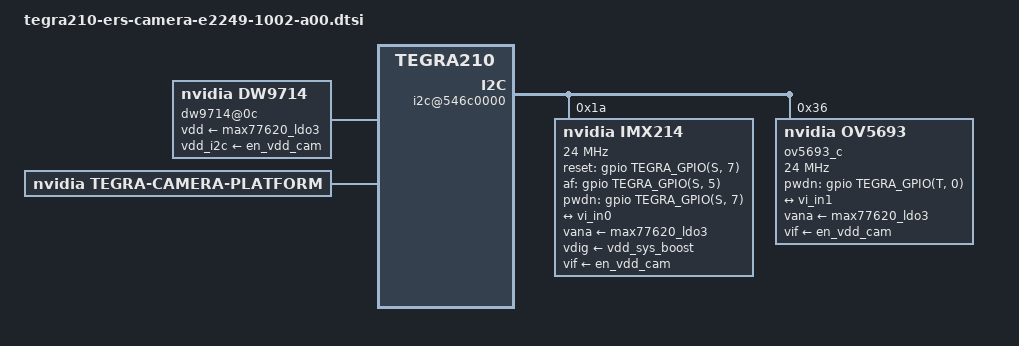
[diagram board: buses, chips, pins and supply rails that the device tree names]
/*
 * Copyright (c) 2014-2016, NVIDIA CORPORATION.  All rights reserved.
 *
 * This program is free software; you can redistribute it and/or modify
 * it under the terms of the GNU General Public License as published by
 * the Free Software Foundation; either version 2 of the License, or
 * (at your option) any later version.
 *
 * This program is distributed in the hope that it will be useful, but WITHOUT
 * ANY WARRANTY; without even the implied warranty of MERCHANTABILITY or
 * FITNESS FOR A PARTICULAR PURPOSE.  See the GNU General Public License for
 * more details.
 *
 * You should have received a copy of the GNU General Public License
 * along with this program.  If not, see <http://www.gnu.org/licenses/>.
 */

#include <dt-bindings/media/camera.h>
#include <dt-bindings/platform/t210/t210.h>

#define VI_I2C_BUS	6

/ {
	host1x {
		vi {
			num-channels = <2>;
			ports {
				#address-cells = <1>;
				#size-cells = <0>;
				port@0 {
					reg = <0>;
					vi_in0: endpoint {
						remote-endpoint = <&imx214_out0>;
					};
				};
				port@1 {
					reg = <1>;
					vi_in1: endpoint {
						remote-endpoint = <&ov5693_out0>;
					};
				};
			};
		};

		i2c@546c0000 {
			avdd_dsi_csi-supply = <&max77620_gpio7>;

			status = "okay";
			#address-cells = <1>;
			#size-cells = <0>;
			imx214@1a {
				compatible = "nvidia,imx214";
				reg = <0x1a>;

				clocks = <&tegra_car TEGRA210_CLK_ID_CLK_OUT_3>;
				clock-names = "mclk";
				clock-frequency = <24000000>;

				/* Physical dimensions of sensor */
				physical_w = "4.713";
				physical_h = "3.494";

				/* V4L2 device node location */
				devnode = "video0";

				/* Sensor Model */
				sensor_model ="imx214";

				/**
				* Define any required hw resources needed by
				* driver
				*/
				/* ie. clocks, io pins, power sources */
				mclk = "cam_mclk1";
				reset-gpios = <&gpio TEGRA_GPIO(S, 7) 0>;
				af-gpios = <&gpio TEGRA_GPIO(S, 5) 0>;
				pwdn-gpios = <&gpio TEGRA_GPIO(S, 7) 0>;
				vana-supply = <&max77620_ldo3>;
				vdig-supply = <&vdd_sys_boost>;
				vif-supply = <&en_vdd_cam>;
				avdd-reg = "vana";
				dvdd-reg = "vdig";
				iovdd-reg = "vif";

				/**
				* A modeX node is required to support v4l2
				* driver implementation with NVIDIA camera
				* software stack
				*
				* mclk_khz = "";
				* Standard MIPI driving clock, typically 24MHz
				*
				* num_lanes = "";
				* Number of lane channels sensor is programmed
				* to output
				*
				* tegra_sinterface = "";
				* The base tegra serial interface lanes are
				* connected to
				*
				* discontinuous_clk = "";
				* The sensor is programmed to use a
				* discontinuous clock on MIPI lanes
				*
				* cil_settletime = "";
				* MIPI lane settle time value.
				* A "0" value attempts to autocalibrate based
				* on mclk_multiplier
				*
				*
				*
				*
				* active_w = "";
				* Pixel active region width
				*
				* active_h = "";
				* Pixel active region height
				*
				* pixel_t = "";
				* The sensor readout pixel pattern
				*
				* readout_orientation = "0";
				* Based on camera module orientation.
				* Only change readout_orientation if you
				* specifically program a different readout
				* order for this mode
				*
				* line_length = "";
				* Pixel line length (width) for sensor mode.
				* This is used to calibrate features in our
				* camera stack.
				*
				* mclk_multiplier = "";
				* Multiplier to MCLK to help time hardware
				* capture sequence
				* TODO: Assign to PLL_Multiplier as well until
				* fixed in core
				*
				* pix_clk_hz = "";
				* Sensor pixel clock used for calculations
				* like exposure and framerate
				*
				*
				*
				*
				* inherent_gain = "";
				* Gain obtained inherently from mode
				* (ie. pixel binning)
				*
				* min_gain_val = ""; (floor to 6 decimal places)
				* max_gain_val = ""; (floor to 6 decimal places)
				* Gain limits for mode
				*
				* min_exp_time = ""; (ceil to integer)
				* max_exp_time = ""; (ceil to integer)
				* Exposure Time limits for mode (us)
				*
				* min_hdr_ratio = "";
				* max_hdr_ratio = "";
				* HDR Ratio limits for mode
				*
				* min_framerate = "";
				* max_framerate = "";
				* Framerate limits for mode (fps)
				*
				*/

				mode0 { // IMX214_MODE_4096X3072
					mclk_khz = "24000";
					num_lanes = "4";
					tegra_sinterface = "serial_a";
					discontinuous_clk = "yes";
					cil_settletime = "0";

					active_w = "4096";
					active_h = "3072";
					pixel_t = "bayer_rggb";
					readout_orientation = "0";
					line_length = "5008";
					inherent_gain = "1";
					mclk_multiplier = "25";
					pix_clk_hz = "480000000";

					min_gain_val = "1.0";
					max_gain_val = "16.0";
					min_hdr_ratio = "1";
					max_hdr_ratio = "64";
					min_framerate = "1.462526";
					max_framerate = "30";
					min_exp_time = "11";
					max_exp_time = "683645";
					embedded_metadata_height = "4";
				};

				mode1 { // IMX214_MODE_4096X2304
					mclk_khz = "24000";
					num_lanes = "4";
					tegra_sinterface = "serial_a";
					discontinuous_clk = "yes";
					cil_settletime = "0";

					active_w = "4096";
					active_h = "2304";
					pixel_t = "bayer_rggb";
					readout_orientation = "0";
					line_length = "5008";
					inherent_gain = "1";
					mclk_multiplier = "25";
					pix_clk_hz = "480000000";

					min_gain_val = "1.0";
					max_gain_val = "16.0";
					min_hdr_ratio = "1";
					max_hdr_ratio = "64";
					min_framerate = "1.462526";
					max_framerate = "30";
					min_exp_time = "11";
					max_exp_time = "683645";
					embedded_metadata_height = "4";
				};

				mode2 {	//IMX214_MODE_3840X2160
					mclk_khz = "24000";
					num_lanes = "4";
					tegra_sinterface = "serial_a";
					discontinuous_clk = "yes";
					cil_settletime = "0";

					active_w = "3840";
					active_h = "2160";
					pixel_t = "bayer_rggb";
					readout_orientation = "0";
					line_length = "5008";
					inherent_gain = "1";
					mclk_multiplier = "25";
					pix_clk_hz = "480000000";

					min_gain_val = "1.0";
					max_gain_val = "16.0";
					min_hdr_ratio = "1";
					max_hdr_ratio = "64";
					min_framerate = "1.462526";
					max_framerate = "30";
					min_exp_time = "11";
					max_exp_time = "683645";
					embedded_metadata_height = "4";
				};

				mode3 {	// IMX214_MODE_2048X1536
					mclk_khz = "24000";
					num_lanes = "4";
					tegra_sinterface = "serial_a";
					discontinuous_clk = "yes";
					cil_settletime = "0";

					active_w = "2048";
					active_h = "1536";
					pixel_t = "bayer_rggb";
					readout_orientation = "0";
					line_length = "5008";
					inherent_gain = "1";
					mclk_multiplier = "25";
					pix_clk_hz = "480000000";

					min_gain_val = "1.0";
					max_gain_val = "16.0";
					min_hdr_ratio = "1";
					max_hdr_ratio = "64";
					min_framerate = "1.462526";
					max_framerate = "30";
					min_exp_time = "11";
					max_exp_time = "683645";
					embedded_metadata_height = "4";
				};

				mode4 { // IMX214_MODE_2048X1152
					mclk_khz = "24000";
					num_lanes = "4";
					tegra_sinterface = "serial_a";
					discontinuous_clk = "yes";
					cil_settletime = "0";

					active_w = "2048";
					active_h = "1152";
					pixel_t = "bayer_rggb";
					readout_orientation = "0";
					line_length = "5008";
					inherent_gain = "1";
					mclk_multiplier = "25";
					pix_clk_hz = "480000000";

					min_gain_val = "1.0";
					max_gain_val = "16.0";
					min_hdr_ratio = "1";
					max_hdr_ratio = "64";
					min_framerate = "1.462526";
					max_framerate = "30";
					min_exp_time = "11";
					max_exp_time = "683645";
					embedded_metadata_height = "4";
				};

				mode5 { // IMX214_MODE_1920X1080
					mclk_khz = "24000";
					num_lanes = "4";
					tegra_sinterface = "serial_a";
					discontinuous_clk = "yes";
					cil_settletime = "0";

					active_w = "1920";
					active_h = "1080";
					pixel_t = "bayer_rggb";
					readout_orientation = "0";
					line_length = "5008";
					inherent_gain = "1";
					mclk_multiplier = "25";
					pix_clk_hz = "480000000";

					min_gain_val = "1.0";
					max_gain_val = "16.0";
					min_hdr_ratio = "1";
					max_hdr_ratio = "64";
					min_framerate = "1.462526";
					max_framerate = "30";
					min_exp_time = "11";
					max_exp_time = "683645";
					embedded_metadata_height = "4";
				};

				mode6 { // IMX214_MODE_1280X720_120FPS
					mclk_khz = "24000";
					num_lanes = "4";
					tegra_sinterface = "serial_a";
					discontinuous_clk = "yes";
					cil_settletime = "0";

					active_w = "1280";
					active_h = "720";
					pixel_t = "bayer_rggb";
					readout_orientation = "0";
					line_length = "5008";
					inherent_gain = "1";
					mclk_multiplier = "25";
					pix_clk_hz = "480000000";

					min_gain_val = "1.0";
					max_gain_val = "16.0";
					min_hdr_ratio = "1";
					max_hdr_ratio = "64";
					min_framerate = "1.462526";
					max_framerate = "120";
					min_exp_time = "11";
					max_exp_time = "683645";
					embedded_metadata_height = "4";
				};
				ports {
					#address-cells = <1>;
					#size-cells = <0>;

					port@0 {
						reg = <0>;
						imx214_out0: endpoint {
							csi-port = <0>;
							bus-width = <4>;
							remote-endpoint = <&vi_in0>;
						};
					};
				};
			};

			ov5693_c@36 {
				compatible = "nvidia,ov5693";
				/* I2C device address */
				reg = <0x36>;

				/* Physical dimensions of sensor */
				physical_w = "3.674";
				physical_h = "2.738";

				/* V4L2 device node location */
				devnode = "video1";

				/* Define any required hw resources needed by driver */
				/* ie. clocks, io pins, power sources */
				/* mclk-index indicates the index of the */
				/* mclk-name with in the clock-names array */
				clocks = <&tegra_car TEGRA210_CLK_ID_CLK_OUT_3>;
				clock-names = "mclk";
				clock-frequency = <24000000>;

				mclk = "cam_mclk1";
				pwdn-gpios = <&gpio TEGRA_GPIO(T, 0) 0>;
				avdd-reg = "vana";
				iovdd-reg = "vif";
				vana-supply = <&max77620_ldo3>;
				vif-supply = <&en_vdd_cam>;

				mode0 { // OV5693_MODE_2592X1944
					mclk_khz = "24000";
					num_lanes = "2";
					tegra_sinterface = "serial_c";
					discontinuous_clk = "no";
					dpcm_enable = "false";
					cil_settletime = "0";

					active_w = "2592";
					active_h = "1944";
					pixel_t = "bayer_bggr";
					readout_orientation = "90";
					line_length = "2688";
					inherent_gain = "1";
					mclk_multiplier = "17.0";
					pix_clk_hz = "160000000";

					min_gain_val = "1.0";
					max_gain_val = "16";
					min_hdr_ratio = "1";
					max_hdr_ratio = "64";
					min_framerate = "1.816577";
					max_framerate = "30";
					min_exp_time = "34";
					max_exp_time = "550385";
				};

				mode1 { //OV5693_MODE_2592X1458
					mclk_khz = "24000";
					num_lanes = "2";
					tegra_sinterface = "serial_c";
					discontinuous_clk = "no";
					dpcm_enable = "false";
					cil_settletime = "0";

					active_w = "2592";
					active_h = "1458";
					pixel_t = "bayer_bggr";
					readout_orientation = "90";
					line_length = "2688";
					inherent_gain = "1";
					mclk_multiplier = "17.0";
					pix_clk_hz = "160000000";

					min_gain_val = "1.0";
					max_gain_val = "16";
					min_hdr_ratio = "1";
					max_hdr_ratio = "64";
					min_framerate = "1.816577";
					max_framerate = "30";
					min_exp_time = "34";
					max_exp_time = "550385";
				};

				mode2 { //OV5693_MODE_1280X720
					mclk_khz = "24000";
					num_lanes = "2";
					tegra_sinterface = "serial_c";
					discontinuous_clk = "no";
					dpcm_enable = "false";
					cil_settletime = "0";

					active_w = "1280";
					active_h = "720";
					pixel_t = "bayer_bggr";
					readout_orientation = "90";
					line_length = "1752";
					inherent_gain = "1";
					mclk_multiplier = "17.0";
					pix_clk_hz = "160000000";

					min_gain_val = "1.0";
					max_gain_val = "16";
					min_hdr_ratio = "1";
					max_hdr_ratio = "64";
					min_framerate = "2.787078";
					max_framerate = "120";
					min_exp_time = "22";
					max_exp_time = "358733";
				};

				// HDR Modes
				mode3 { //OV5693_MODE_2592X1944_HDR
					mclk_khz = "24000";
					num_lanes = "2";
					tegra_sinterface = "serial_c";
					discontinuous_clk = "no";
					dpcm_enable = "false";
					cil_settletime = "0";

					active_w = "2592";
					active_h = "1944";
					pixel_t = "hdr_bggr";
					readout_orientation = "90";
					line_length = "3696";
					inherent_gain = "1";
					mclk_multiplier = "19.0";
					pix_clk_hz = "176000000";

					min_gain_val = "1.0";
					max_gain_val = "16";
					min_hdr_ratio = "1";
					max_hdr_ratio = "64";
					min_framerate = "1.453262";
					max_framerate = "24";
					min_exp_time = "42";
					max_exp_time = "687981";
				};

				ports {
					#address-cells = <1>;
					#size-cells = <0>;
					port@0 {
						reg = <0>;
						ov5693_out0: endpoint {
							csi-port = <2>;
							bus-width = <2>;
							remote-endpoint = <&vi_in1>;
						};
					};
				};
			};
		};
	};

	dw9714@0c {
		compatible = "nvidia,dw9714";
		vdd-supply = <&max77620_ldo3>;
		vdd_i2c-supply = <&en_vdd_cam>;
		/* platform data */
		dev_name = "focuser";
		num = <0>;
		sync = <0>;
		/* Copy pasted everything from camera-pcl node for now */
		chipname = "pcl_DW9714";
		type = "focuser";
		position = <0>;
		bustype = "i2c";
		busnum = <VI_I2C_BUS>;
		addr = <0xc>;
		datalen = <1>;
		pinmuxgrp = <0xFFFF>;
		gpios = <1>;
		regulators = "vdd", "vdd_i2c";
		drivername = "dw9714";
		devid = <0x9714>;
		/* focuser capabilities */
		settle-time = <30000>; /* uS */
		slew-rate = <0x3a200c>; /* tunned slew mode */
		macro-position = <450>;
		infinity-position = <200>;
		hyper-value = <200>;
	};

	tegra-camera-platform {
		compatible = "nvidia, tegra-camera-platform";
		/**
		* Physical settings to calculate max ISO BW
		*
		* num_csi_lanes = <>;
		* Total number of CSI lanes when all cameras are active
		*
		* max_lane_speed = <>;
		* Max lane speed in Kbit/s
		*
		* min_bits_per_pixel = <>;
		* Min bits per pixel
		*
		* vi_peak_byte_per_pixel = <>;
		* Max byte per pixel for the VI ISO case
		*
		* vi_bw_margin_pct = <>;
		* Vi bandwidth margin in percentage
		*
		* isp_peak_byte_per_pixel = <>;
		* Max byte per pixel for the ISP ISO case
		*
		* isp_bw_margin_pct = <>;
		* Isp bandwidth margin in percentage
		*/
		num_csi_lanes = <6>;
		max_lane_speed = <1500000>;
		min_bits_per_pixel = <10>;
		vi_peak_byte_per_pixel = <2>;
		vi_bw_margin_pct = <25>;
		isp_peak_byte_per_pixel = <2>;
		isp_bw_margin_pct = <25>;

		/**
		* The general guideline for naming badge_info contains 3 parts,
		* and is as follows:
		* The first part is the camera_board_id for the module
		* if the module is in a FFD platform, then use platform name.
		* The second part contains the position of the module
		* ex. “rear” or “front”.
		* The third part contains the last 6 characters of part number
		* which is found in the module's specsheet from the vender.
		*/
		modules {
			module0 {
				badge = "e2249_rear_P13N05B";
				position = "rear";
				orientation = "0";
				drivernode0 {
					/**
					* Declare PCL support driver
					* (classically known as guid)
					* Device tree hierarchy to driver
					*/
					pcl_id = "v4l2_soc_sensor";
					proc-device-tree = "/proc/device-tree/host1x/i2c@546c0000/imx214@1a";
				};
				drivernode1 {
					/**
					* Declare PCL support driver
					* (classically known as guid)
					*/
					pcl_id = "f_NVCAM0";
				};
			};
			module1 {
				badge = "e2249_front_P5V27C";
				position = "front";
				orientation = "0";
				drivernode0 {
					pcl_id = "v4l2_soc_sensor";
					proc-device-tree = "/proc/device-tree/host1x/i2c@546c0000/ov5693_c@36";
				};
			};
		};
	};

	camera-pcl {
		compatible = "nvidia,tegra210-camera", "simple-bus";
		configuration = <0xAA55AA55>;

		modules {
			module1: module1@modules {
				compatible = "sensor,rear";
				badge_info = "e2249_rear_P13N05B";

				focuser {
					profile = <&dw9714_1>;
					platformdata = "t210ref_dw9714_pdata";
				};
				flash {
					profile = <&as3648_1>;
					platformdata = "t210ref_as3648_pdata";
				};
			};
			module2: module2@modules {
				compatible = "sensor,front";
				badge_info = "e2249_front_P5V27C";

				sensor {
					profile = <&ov5693_1>;
					platformdata = "t210ref_ov5693f_pdata";
				};
			};
			module3: module3@modules {
				compatible = "sensor,rear";
				badge_info = "e2249_front_P5V27C";

				sensor {
					profile = <&ov5693_A>;
					platformdata = "t210ref_ov5693A_pdata";
				};
			};
			module4: module4@modules {
				compatible = "sensor,front";
				badge_info = "e2249_front_P5V27C";

				sensor {
					profile = <&ov5693_B>;
					platformdata = "t210ref_ov5693B_pdata";
				};
			};
			module5: module5@modules {
				compatible = "sensor,front";
				badge_info = "e2249_front_P5V27C";

				sensor {
					profile = <&ov5693_C>;
					platformdata = "t210ref_ov5693C_pdata";
				};
			};
			module6: module6@modules {
				compatible = "sensor,front";
				badge_info = "e2249_front_P5V27C";

				sensor {
					profile = <&ov5693_D>;
					platformdata = "t210ref_ov5693D_pdata";
				};
			};
			module7: module7@modules {
				compatible = "sensor,front";
				badge_info = "e2249_front_P5V27C";

				sensor {
					profile = <&ov5693_E>;
					platformdata = "t210ref_ov5693E_pdata";
				};
			};
			module8: module8@modules {
				compatible = "sensor,front";
				badge_info = "e2249_front_P5V27C";

				sensor {
					profile = <&ov5693_F>;
					platformdata = "t210ref_ov5693F_pdata";
				};
			};
		};

		profiles {
			imx214_1: imx214-pcl@x_001a {
				index = <1>;
				chipname = "pcl_IMX214";
				type = "sensor";
				guid = "s_IMX214";
				position = <0>;
				bustype = "i2c";
				busnum = <VI_I2C_BUS>;
				addr = <0x1a>;
				datalen = <2>;
				pinmuxgrp = <0xFFFF>;
				gpios = <3>;
				regulators = "vana", "vdig", "vif";
				clocks = "cam_mclk1";
				drivername = "imx214";
				detect = <0x0002 0x0016 0xFFFF 0x0214>;
				devid = <0x0214>;
				poweron = <
					CAMERA_IND_CLK_SET(10000)
					CAMERA_GPIO_CLR(TEGRA_GPIO(S, 7))
					CAMERA_WAITUS(10)
					CAMERA_REGULATOR_ON(2)
					CAMERA_REGULATOR_ON(1)
					CAMERA_REGULATOR_ON(0)
					CAMERA_WAITMS(5)
					CAMERA_GPIO_SET(TEGRA_GPIO(S, 7))
					CAMERA_GPIO_SET(TEGRA_GPIO(S, 5))
					CAMERA_WAITUS(300)
					CAMERA_END
					>;
				poweroff = <
					CAMERA_IND_CLK_CLR
					CAMERA_GPIO_CLR(TEGRA_GPIO(S, 7))
					CAMERA_WAITUS(10)
					CAMERA_REGULATOR_OFF(2)
					CAMERA_REGULATOR_OFF(1)
					CAMERA_REGULATOR_OFF(0)
					CAMERA_END
					>;
			};
			dw9714_1: dw9714-pcl@x_000c {
				index = <2>;
				chipname = "pcl_DW9714";
				type = "focuser";
				guid = "f_NVCAM0";
				position = <0>;
				bustype = "i2c";
				busnum = <VI_I2C_BUS>;
				addr = <0xc>;
				datalen = <1>;
				pinmuxgrp = <0xFFFF>;
				gpios = <1>;
				regulators = "vdd", "vdd_i2c";
				drivername = "dw9714";
				detect = <0x0000 0x0000 0xFFFF 0x0000>;
				devid = <0x9714>;
				poweron = <
					CAMERA_REGULATOR_ON(1)
					CAMERA_REGULATOR_ON(0)
					CAMERA_WAITUS(10)
					CAMERA_GPIO_SET(TEGRA_GPIO(S, 5))
					CAMERA_WAITUS(10)
					CAMERA_END
					>;
				poweroff = <
					CAMERA_REGULATOR_OFF(0)
					CAMERA_REGULATOR_OFF(1)
					CAMERA_GPIO_CLR(TEGRA_GPIO(S, 5))
					CAMERA_WAITUS(10)
					CAMERA_END
					>;
				/* focuser capabilities */
				settle-time = <30000>; /* uS */
				slew-rate = <0x3a200c>; /* tunned slew mode */
				macro-position = <450>;
				infinity-position = <200>;
				hyper-value = <200>;
				support_mfi;
			};
			as3648_1: as3648-pcl@x_0030 {
				index = <3>;
				chipname = "pcl_AS3648";
				type = "flash";
				guid = "l_NVCAM0";
				position = <0>;
				bustype = "i2c";
				busnum = <VI_I2C_BUS>;
				addr = <0x30>;
				datalen = <1>;
				pinmuxgrp = <0xFFFF>;
				gpios = <3>;
				regulators = "vi2c", "vin";
				drivername = "as3648";
				detect = <0x0001 0x0000 0x00F0 0x00b0>;
				devid = <0x3648>;
				poweron = <
					CAMERA_REGULATOR_ON(1)
					CAMERA_REGULATOR_ON(0)
					CAMERA_WAITUS(1000)
					CAMERA_END
					>;
				poweroff = <
					CAMERA_REGULATOR_OFF(0)
					CAMERA_REGULATOR_OFF(1)
					CAMERA_WAITUS(10)
					CAMERA_END
					>;
				/* configuration */
				led-mask = <3>;
				max-total-current = <1000>; /* mA */
				max-peak-current = <600>; /* mA */
				max-torch-current = <600>; /* mA */
				vin-low-v-run = <3070>; /* mV */
			};
			ov5693_1: ov5693-pcl@x_0036 {
				index = <4>;
				chipname = "pcl_OV5693f";
				type = "sensor";
				guid = "sOV5693f";
				position = <1>;
				bustype = "i2c";
				busnum = <VI_I2C_BUS>;
				addr = <0x36>;
				datalen = <2>;
				pinmuxgrp = <0xFFFF>;
				gpios = <3>;
				regulators = "vana", "vif";
				clocks = "cam_mclk1";
				drivername = "ov5693.1";
				detect = <0x0002 0x300A 0xFFFF 0x5690>;
				devid = <0x5693>;
				poweron = <
					CAMERA_IND_CLK_SET(10000)
					CAMERA_GPIO_CLR(TEGRA_GPIO(T, 0))
					CAMERA_WAITMS(1)
					CAMERA_REGULATOR_ON(0)
					CAMERA_REGULATOR_ON(1)
					CAMERA_WAITMS(1)
					CAMERA_GPIO_SET(TEGRA_GPIO(T, 0))
					CAMERA_WAITMS(10)
					CAMERA_END
					>;
				poweroff = <
					CAMERA_IND_CLK_CLR
					CAMERA_GPIO_CLR(TEGRA_GPIO(T, 0))
					CAMERA_WAITUS(10)
					CAMERA_REGULATOR_OFF(1)
					CAMERA_REGULATOR_OFF(0)
					CAMERA_END
					>;
				/* sensor capabilities */
				cap-version = <0x34340002>;
				cap-identifier = "OV5693.1";
				cap-sensor_nvc_interface = <5>;
				cap-pixel_types = <0x101>;
				cap-orientation = <0>;
				cap-direction = <1>;
				cap-initial_clock_rate_khz = <6000>;
				cap-h_sync_edge = <0>;
				cap-v_sync_edge = <0>;
				cap-mclk_on_vgp0 = <0>;
				cap-csi_port = <1>;
				cap-data_lanes = <2>;
				cap-virtual_channel_id = <0>;
				cap-discontinuous_clk_mode = <1>;
				cap-cil_threshold_settle = <0>;
				cap-min_blank_time_width = <16>;
				cap-min_blank_time_height = <16>;
				cap-preferred_mode_index = <0>;
				cap-external_clock_khz_0 = <24000>;
				cap-clock_multiplier_0 = <8000000>;
				cap-external_clock_khz_1 = <0>;
				cap-clock_multiplier_1 = <0>;
				cap-hdr-enabled;
			};
			imx214_2: imx214-pcl@v_001a {
				index = <5>;
				chipname = "v4l2_IMX214";
				type = "sensor";
				guid = "vlSensor";
				position = <0>;
				bustype = "i2c";
				busnum = <VI_I2C_BUS>;
				addr = <0x1a>;
				datalen = <2>;
				pinmuxgrp = <0xFFFF>;
				gpios = <3>;
				regulators = "vana", "vdig", "vif";
				clocks = "cam_mclk1";
				drivername = "imx214";
				devid = <0x0214>;
				skip_camera_install = <1>;
			};
			ov5693_A: ov5693-pcl@a_0036 {
				index = <5>;
				chipname = "pcl_OV5693A";
				type = "sensor";
				guid = "sOV5693A";
				position = <0>;
				bustype = "i2c";
				busnum = <T210_CAMERA_I2C_MUX_BUS(3)>;
				addr = <0x36>;
				datalen = <2>;
				pinmuxgrp = <0xFFFF>;
				gpios = <3>;
				regulators = "vana", "vif";
				clocks = "cam_mclk1";
				drivername = "ov5693";
				detect = <0x0002 0x300A 0xFFFF 0x5690>;
				devid = <0x5693>;
				poweron = <
					CAMERA_IND_CLK_SET(10000)
					CAMERA_GPIO_CLR(TEGRA_GPIO(S, 7))
					CAMERA_WAITMS(1)
					CAMERA_REGULATOR_ON(0)
					CAMERA_REGULATOR_ON(1)
					CAMERA_WAITMS(1)
					CAMERA_GPIO_SET(TEGRA_GPIO(S, 7))
					CAMERA_WAITMS(10)
					CAMERA_END
					>;
				poweroff = <
					CAMERA_IND_CLK_CLR
					CAMERA_GPIO_CLR(TEGRA_GPIO(S, 7))
					CAMERA_WAITUS(10)
					CAMERA_REGULATOR_OFF(1)
					CAMERA_REGULATOR_OFF(0)
					CAMERA_END
					>;
				/* sensor capabilities */
				cap-cap-version = <0x34340002>;
				cap-identifier = "OV5693_A";
				cap-sensor_nvc_interface = <3>;
				cap-pixel_types = <0x101>;
				cap-orientation = <0>;
				cap-direction = <0>;
				cap-initial_clock_rate_khz = <6000>;
				cap-h_sync_edge = <0>;
				cap-v_sync_edge = <0>;
				cap-mclk_on_vgp0 = <0>;
				cap-csi_port = <0>;
				cap-data_lanes = <2>;
				cap-virtual_channel_id = <0>;
				cap-discontinuous_clk_mode = <1>;
				cap-cil_threshold_settle = <0>;
				cap-min_blank_time_width = <16>;
				cap-min_blank_time_height = <16>;
				cap-preferred_mode_index = <0>;
				cap-external_clock_khz_0 = <24000>;
				cap-clock_multiplier_0 = <8000000>;
				cap-external_clock_khz_1 = <0>;
				cap-clock_multiplier_1 = <0>;
				cap-hdr-enabled;
			};
			ov5693_B: ov5693-pcl@b_0036 {
				index = <7>;
				chipname = "pcl_OV5693B";
				type = "sensor";
				guid = "sOV5693B";
				position = <1>;
				bustype = "i2c";
				busnum = <T210_CAMERA_I2C_MUX_BUS(2)>;
				addr = <0x36>;
				datalen = <2>;
				pinmuxgrp = <0xFFFF>;
				gpios = <3>;
				regulators = "vana", "vif";
				clocks = "cam_mclk1";
				drivername = "ov5693";
				detect = <0x0002 0x300A 0xFFFF 0x5690>;
				devid = <0x5693>;
				poweron = <
					CAMERA_IND_CLK_SET(10000)
					CAMERA_GPIO_CLR(TEGRA_GPIO(T, 0))
					CAMERA_WAITMS(1)
					CAMERA_REGULATOR_ON(0)
					CAMERA_REGULATOR_ON(1)
					CAMERA_WAITMS(1)
					CAMERA_GPIO_SET(TEGRA_GPIO(T, 0))
					CAMERA_WAITMS(10)
					CAMERA_END
					>;
				poweroff = <
					CAMERA_IND_CLK_CLR
					CAMERA_GPIO_CLR(TEGRA_GPIO(T, 0))
					CAMERA_WAITUS(10)
					CAMERA_REGULATOR_OFF(1)
					CAMERA_REGULATOR_OFF(0)
					CAMERA_END
					>;
				/* sensor capabilities */
				cap-cap-version = <0x34340002>;
				cap-identifier = "OV5693_B";
				cap-sensor_nvc_interface = <5>;
				cap-pixel_types = <0x101>;
				cap-orientation = <0>;
				cap-direction = <0>;
				cap-initial_clock_rate_khz = <6000>;
				cap-h_sync_edge = <0>;
				cap-v_sync_edge = <0>;
				cap-mclk_on_vgp0 = <0>;
				cap-csi_port = <0>;
				cap-data_lanes = <2>;
				cap-virtual_channel_id = <0>;
				cap-discontinuous_clk_mode = <1>;
				cap-cil_threshold_settle = <0>;
				cap-min_blank_time_width = <16>;
				cap-min_blank_time_height = <16>;
				cap-preferred_mode_index = <0>;
				cap-external_clock_khz_0 = <24000>;
				cap-clock_multiplier_0 = <8000000>;
				cap-external_clock_khz_1 = <0>;
				cap-clock_multiplier_1 = <0>;
				cap-hdr-enabled;
			};
			ov5693_C: ov5693-pcl@c_0036 {
				index = <8>;
				chipname = "pcl_OV5693C";
				type = "sensor";
				guid = "sOV5693C";
				position = <2>;
				bustype = "i2c";
				busnum = <T210_CAMERA_I2C_MUX_BUS(0)>;
				addr = <0x36>;
				datalen = <2>;
				pinmuxgrp = <0xFFFF>;
				gpios = <3>;
				regulators = "vana", "vif";
				clocks = "cam_mclk1";
				drivername = "ov5693";
				detect = <0x0002 0x300A 0xFFFF 0x5690>;
				devid = <0x5693>;
				poweron = <
					CAMERA_IND_CLK_SET(10000)
					CAMERA_GPIO_CLR(TEGRA_GPIO(T, 0))
					CAMERA_WAITMS(1)
					CAMERA_REGULATOR_ON(0)
					CAMERA_REGULATOR_ON(1)
					CAMERA_WAITMS(1)
					CAMERA_GPIO_SET(TEGRA_GPIO(T, 0))
					CAMERA_WAITMS(10)
					CAMERA_END
					>;
				poweroff = <
					CAMERA_IND_CLK_CLR
					CAMERA_GPIO_CLR(TEGRA_GPIO(T, 0))
					CAMERA_WAITUS(10)
					CAMERA_REGULATOR_OFF(1)
					CAMERA_REGULATOR_OFF(0)
					CAMERA_END
					>;
				/* sensor capabilities */
				cap-cap-version = <0x34340002>;
				cap-identifier = "OV5693_C";
				cap-sensor_nvc_interface = <6>;
				cap-pixel_types = <0x101>;
				cap-orientation = <0>;
				cap-direction = <0>;
				cap-initial_clock_rate_khz = <6000>;
				cap-h_sync_edge = <0>;
				cap-v_sync_edge = <0>;
				cap-mclk_on_vgp0 = <0>;
				cap-csi_port = <0>;
				cap-data_lanes = <2>;
				cap-virtual_channel_id = <0>;
				cap-discontinuous_clk_mode = <1>;
				cap-cil_threshold_settle = <0>;
				cap-min_blank_time_width = <16>;
				cap-min_blank_time_height = <16>;
				cap-preferred_mode_index = <0>;
				cap-external_clock_khz_0 = <24000>;
				cap-clock_multiplier_0 = <8000000>;
				cap-external_clock_khz_1 = <0>;
				cap-clock_multiplier_1 = <0>;
				cap-hdr-enabled;
			};
			ov5693_D: ov5693-pcl@d_0036 {
				index = <6>;
				chipname = "pcl_OV5693D";
				type = "sensor";
				guid = "sOV5693D";
				position = <3>;
				bustype = "i2c";
				busnum = <T210_CAMERA_I2C_MUX_BUS(1)>;
				addr = <0x36>;
				datalen = <2>;
				pinmuxgrp = <0xFFFF>;
				gpios = <3>;
				regulators = "vana", "vif";
				clocks = "cam_mclk1";
				drivername = "ov5693";
				detect = <0x0002 0x300A 0xFFFF 0x5690>;
				devid = <0x5693>;
				poweron = <
					CAMERA_IND_CLK_SET(10000)
					CAMERA_GPIO_CLR(TEGRA_GPIO(S, 7))
					CAMERA_WAITMS(1)
					CAMERA_REGULATOR_ON(0)
					CAMERA_REGULATOR_ON(1)
					CAMERA_WAITMS(1)
					CAMERA_GPIO_SET(TEGRA_GPIO(S, 7))
					CAMERA_WAITMS(10)
					CAMERA_END
					>;
				poweroff = <
					CAMERA_IND_CLK_CLR
					CAMERA_GPIO_CLR(TEGRA_GPIO(S, 7))
					CAMERA_WAITUS(10)
					CAMERA_REGULATOR_OFF(1)
					CAMERA_REGULATOR_OFF(0)
					CAMERA_END
					>;
				/* sensor capabilities */
				cap-cap-version = <0x34340002>;
				cap-identifier = "OV5693_D";
				cap-sensor_nvc_interface = <4>;
				cap-pixel_types = <0x101>;
				cap-orientation = <0>;
				cap-direction = <0>;
				cap-initial_clock_rate_khz = <6000>;
				cap-h_sync_edge = <0>;
				cap-v_sync_edge = <0>;
				cap-mclk_on_vgp0 = <0>;
				cap-csi_port = <0>;
				cap-data_lanes = <2>;
				cap-virtual_channel_id = <0>;
				cap-discontinuous_clk_mode = <1>;
				cap-cil_threshold_settle = <0>;
				cap-min_blank_time_width = <16>;
				cap-min_blank_time_height = <16>;
				cap-preferred_mode_index = <0>;
				cap-external_clock_khz_0 = <24000>;
				cap-clock_multiplier_0 = <8000000>;
				cap-external_clock_khz_1 = <0>;
				cap-clock_multiplier_1 = <0>;
				cap-hdr-enabled;
			};
			ov5693_E: ov5693-pcl@e_0036 {
				index = <9>;
				chipname = "pcl_OV5693E";
				type = "sensor";
				guid = "sOV5693E";
				position = <4>;
				bustype = "i2c";
				busnum = <T210_CAMERA_I2C_MUX_BUS(5)>;
				addr = <0x36>;
				datalen = <2>;
				pinmuxgrp = <0xFFFF>;
				gpios = <3>;
				regulators = "vana", "vif";
				clocks = "cam_mclk3";
				drivername = "ov5693";
				detect = <0x0002 0x300A 0xFFFF 0x5690>;
				devid = <0x5693>;
				poweron = <
					CAMERA_IND_CLK_SET(10000)
					CAMERA_GPIO_CLR(TEGRA_GPIO(Z, 3))
					CAMERA_WAITMS(1)
					CAMERA_REGULATOR_ON(0)
					CAMERA_REGULATOR_ON(1)
					CAMERA_WAITMS(1)
					CAMERA_GPIO_SET(TEGRA_GPIO(Z, 3))
					CAMERA_WAITMS(10)
					CAMERA_END
					>;
				poweroff = <
					CAMERA_IND_CLK_CLR
					CAMERA_GPIO_CLR(TEGRA_GPIO(Z, 3))
					CAMERA_WAITUS(10)
					CAMERA_REGULATOR_OFF(1)
					CAMERA_REGULATOR_OFF(0)
					CAMERA_END
					>;
				/* sensor capabilities */
				cap-cap-version = <0x34340002>;
				cap-identifier = "OV5693_E";
				cap-sensor_nvc_interface = <7>;
				cap-pixel_types = <0x101>;
				cap-orientation = <0>;
				cap-direction = <0>;
				cap-initial_clock_rate_khz = <6000>;
				cap-h_sync_edge = <0>;
				cap-v_sync_edge = <0>;
				cap-mclk_on_vgp0 = <0>;
				cap-csi_port = <0>;
				cap-data_lanes = <2>;
				cap-virtual_channel_id = <0>;
				cap-discontinuous_clk_mode = <1>;
				cap-cil_threshold_settle = <0>;
				cap-min_blank_time_width = <16>;
				cap-min_blank_time_height = <16>;
				cap-preferred_mode_index = <0>;
				cap-external_clock_khz_0 = <24000>;
				cap-clock_multiplier_0 = <8000000>;
				cap-external_clock_khz_1 = <0>;
				cap-clock_multiplier_1 = <0>;
				cap-hdr-enabled;
			};
			ov5693_F: ov5693-pcl@f_0036 {
				index = <10>;
				chipname = "pcl_OV5693F";
				type = "sensor";
				guid = "sOV5693F";
				position = <5>;
				bustype = "i2c";
				busnum = <T210_CAMERA_I2C_MUX_BUS(4)>;
				addr = <0x36>;
				datalen = <2>;
				pinmuxgrp = <0xFFFF>;
				gpios = <3>;
				regulators = "vana", "vif";
				clocks = "cam_mclk3";
				drivername = "ov5693";
				detect = <0x0002 0x300A 0xFFFF 0x5690>;
				devid = <0x5693>;
				poweron = <
					CAMERA_IND_CLK_SET(10000)
					CAMERA_GPIO_CLR(TEGRA_GPIO(T, 1))
					CAMERA_WAITMS(1)
					CAMERA_REGULATOR_ON(0)
					CAMERA_REGULATOR_ON(1)
					CAMERA_WAITMS(1)
					CAMERA_GPIO_SET(TEGRA_GPIO(T, 1))
					CAMERA_WAITMS(10)
					CAMERA_END
					>;
				poweroff = <
					CAMERA_IND_CLK_CLR
					CAMERA_GPIO_CLR(TEGRA_GPIO(T, 1))
					CAMERA_WAITUS(10)
					CAMERA_REGULATOR_OFF(1)
					CAMERA_REGULATOR_OFF(0)
					CAMERA_END
					>;
				/* sensor capabilities */
				cap-cap-version = <0x34340002>;
				cap-identifier = "OV5693_F";
				cap-sensor_nvc_interface = <8>;
				cap-pixel_types = <0x101>;
				cap-orientation = <0>;
				cap-direction = <0>;
				cap-initial_clock_rate_khz = <6000>;
				cap-h_sync_edge = <0>;
				cap-v_sync_edge = <0>;
				cap-mclk_on_vgp0 = <0>;
				cap-csi_port = <0>;
				cap-data_lanes = <2>;
				cap-virtual_channel_id = <0>;
				cap-discontinuous_clk_mode = <1>;
				cap-cil_threshold_settle = <0>;
				cap-min_blank_time_width = <16>;
				cap-min_blank_time_height = <16>;
				cap-preferred_mode_index = <0>;
				cap-external_clock_khz_0 = <24000>;
				cap-clock_multiplier_0 = <8000000>;
				cap-external_clock_khz_1 = <0>;
				cap-clock_multiplier_1 = <0>;
				cap-hdr-enabled;
			};
		};
	};
};

